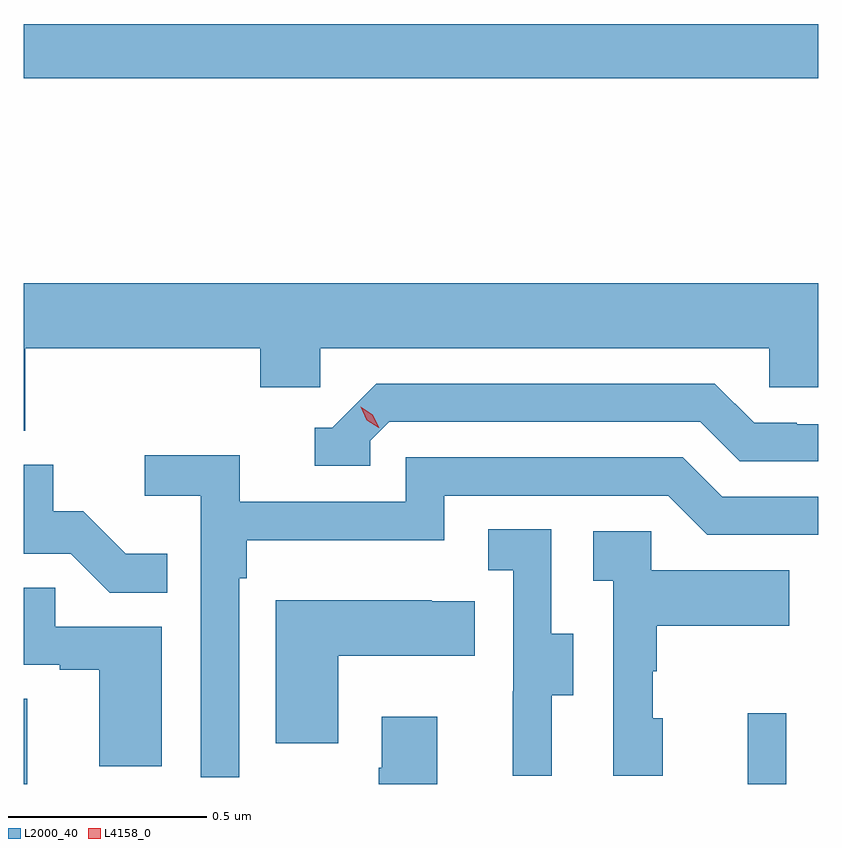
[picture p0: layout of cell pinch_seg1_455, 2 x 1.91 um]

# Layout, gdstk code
import gdstk
lib = gdstk.Library(unit=1e-6, precision=1e-09)
def R(c, l, rs):  # rectangles x0, y0, x1, y1
    for r in rs: c.add(gdstk.rectangle(r[:2], r[2:], *l))
def P(c, l, *ps):  # polygons
    for p in ps: c.add(gdstk.Polygon(p, *l))
L2000_40 = (2000, 40)
L4158_0 = (4158, 0)

pinch_seg1_455 = lib.new_cell('pinch_seg1_455')
R(pinch_seg1_455, L2000_40, [(993.214,516.003,993.223,516.218), (995.036,516.003,995.133,516.181), (993.214,517.78,995.214,517.916)])
P(pinch_seg1_455, L2000_40, [(993.218,517.1),(993.809,517.1),(993.809,517.002),(993.96,517.002),(993.96,517.1),(995.091,517.1),(995.091,517.002),(995.214,517.002),(995.214,517.264),(993.214,517.264),(993.214,516.892),(993.218,516.892)],
  [(994.086,516.867),(994.134,516.915),(994.917,516.915),(995.016,516.816),(995.214,516.816),(995.214,516.909),(995.16,516.909),(995.16,516.912),(995.053,516.912),(994.954,517.011),(994.101,517.011),(993.99,516.9),(993.947,516.9),(993.947,516.804),(994.086,516.804)],
  [(993.756,516.521),(993.776,516.521),(993.776,516.617),(994.272,516.617),(994.272,516.729),(994.836,516.729),(994.935,516.63),(995.214,516.63),(995.214,516.726),(994.972,516.726),(994.873,516.825),(994.176,516.825),(994.176,516.714),(993.758,516.714),(993.758,516.83),(993.519,516.83),(993.519,516.728),(993.66,516.728),(993.66,516.02),(993.756,516.02)],
  [(993.575,516.583),(993.471,516.583),(993.364,516.69),(993.288,516.69),(993.288,516.807),(993.214,516.807),(993.214,516.582),(993.333,516.582),(993.431,516.484),(993.575,516.484)],
  [(994.543,516.226),(994.597,516.226),(994.597,516.381),(994.542,516.381),(994.542,516.644),(994.383,516.644),(994.383,516.541),(994.446,516.541),(994.446,516.237),(994.445,516.237),(994.445,516.024),(994.543,516.024)],
  [(994.822,516.168),(994.797,516.168),(994.797,516.287),(994.807,516.287),(994.807,516.401),(995.141,516.401),(995.141,516.541),(994.794,516.541),(994.794,516.639),(994.647,516.639),(994.647,516.515),(994.698,516.515),(994.698,516.024),(994.822,516.024)],
  [(993.562,516.399),(993.293,516.399),(993.293,516.497),(993.214,516.497),(993.214,516.303),(993.305,516.303),(993.305,516.291),(993.404,516.291),(993.404,516.048),(993.562,516.048)],
  [(994.006,516.326),(994.349,516.326),(994.349,516.463),(994.241,516.463),(994.241,516.466),(993.848,516.466),(993.848,516.105),(994.006,516.105)],
  [(994.255,516.172),(994.115,516.172),(994.115,516.044),(994.108,516.044),(994.108,516.003),(994.255,516.003)])
P(pinch_seg1_455, L4158_0, [(994.108,516.9),(994.078,516.919),(994.062,516.952),(994.062,516.952),(994.062,516.952),(994.093,516.933),(994.109,516.9),(994.109,516.9)])

lib.write_gds('pinch_seg1_455.gds')
